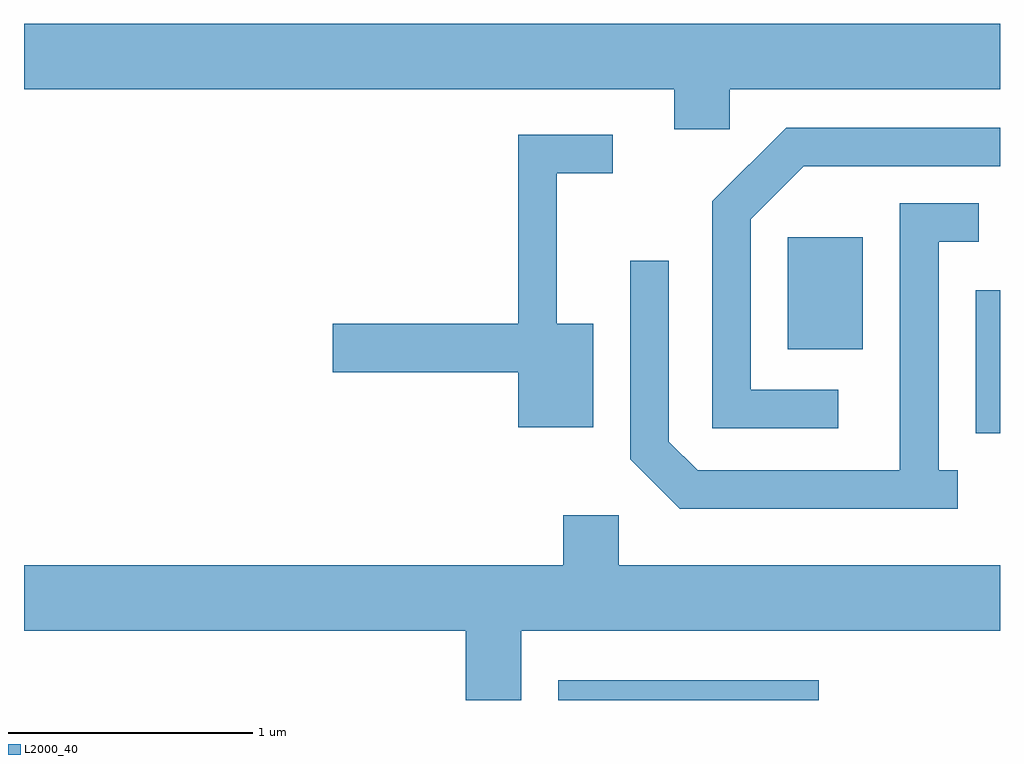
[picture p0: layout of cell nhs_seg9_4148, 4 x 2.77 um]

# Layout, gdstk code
import gdstk
lib = gdstk.Library(unit=1e-6, precision=1e-09)
def R(c, l, rs):  # rectangles x0, y0, x1, y1
    for r in rs: c.add(gdstk.rectangle(r[:2], r[2:], *l))
def P(c, l, *ps):  # polygons
    for p in ps: c.add(gdstk.Polygon(p, *l))
L2000_40 = (2000, 40)

nhs_seg9_4148 = lib.new_cell('nhs_seg9_4148')
R(nhs_seg9_4148, L2000_40, [(309.801,1980.432,310.869,1980.514), (311.511,1981.526,311.611,1982.113), (310.741,1981.871,311.049,1982.329)])
P(nhs_seg9_4148, L2000_40, [(310.504,1982.936),(311.611,1982.936),(311.611,1983.204),(307.611,1983.204),(307.611,1982.936),(310.276,1982.936),(310.276,1982.771),(310.504,1982.771)],
  [(310.948,1981.704),(310.589,1981.704),(310.589,1982.404),(310.807,1982.621),(311.611,1982.621),(311.611,1982.779),(310.734,1982.779),(310.431,1982.477),(310.431,1981.546),(310.948,1981.546)],
  [(309.944,1981.974),(309.794,1981.974),(309.794,1982.591),(310.023,1982.591),(310.023,1982.749),(309.636,1982.749),(309.636,1981.974),(308.876,1981.974),(308.876,1981.776),(309.636,1981.776),(309.636,1981.551),(309.944,1981.551)],
  [(311.438,1981.374),(311.359,1981.374),(311.359,1982.311),(311.523,1982.311),(311.523,1982.469),(311.201,1982.469),(311.201,1981.374),(310.372,1981.374),(310.254,1981.492),(310.254,1982.233),(310.096,1982.233),(310.096,1981.419),(310.299,1981.216),(311.438,1981.216)],
  [(309.649,1980.716),(311.611,1980.716),(311.611,1980.984),(310.049,1980.984),(310.049,1981.189),(309.821,1981.189),(309.821,1980.984),(307.611,1980.984),(307.611,1980.716),(309.421,1980.716),(309.421,1980.432),(309.649,1980.432)])

lib.write_gds('nhs_seg9_4148.gds')
